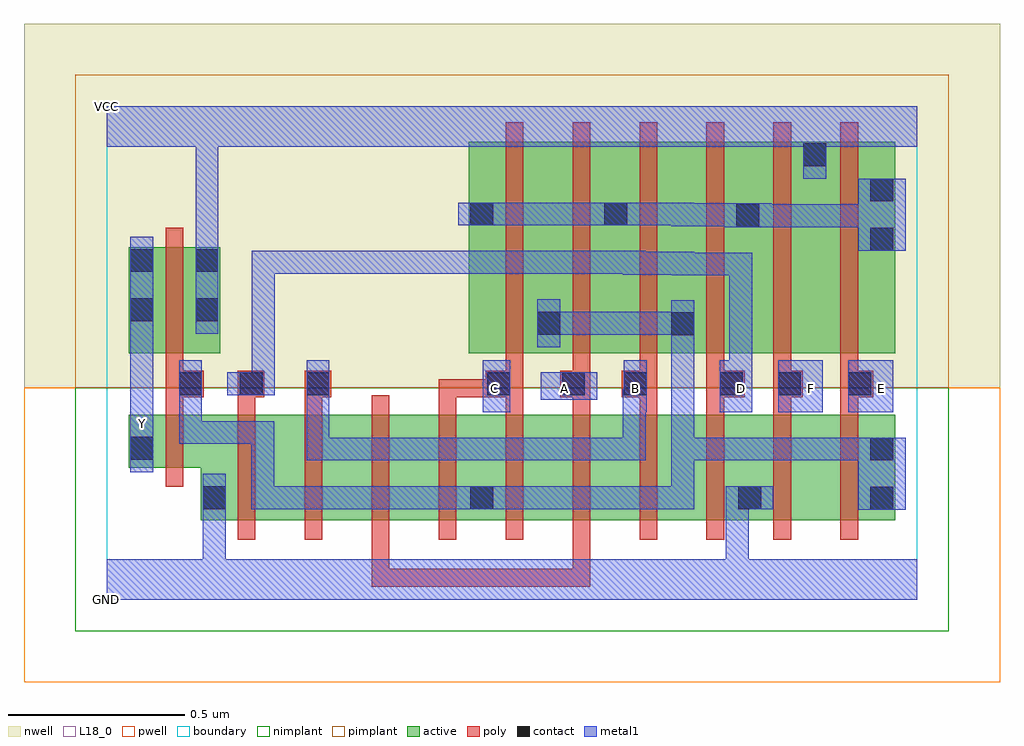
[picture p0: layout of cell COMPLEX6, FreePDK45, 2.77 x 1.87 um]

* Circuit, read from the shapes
.subckt COMPLEX6 A B C D E F GND VCC Y
M1 GND n1 Y VSUBS nfet w=0.15u l=0.05u
M2 n2 D GND VSUBS nfet w=0.3u l=0.05u
M3 n3 B n2 VSUBS nfet w=0.3u l=0.05u
M4 n4 A n3 VSUBS nfet w=0.3u l=0.05u
M5 n1 C n4 VSUBS nfet w=0.3u l=0.05u
M6 n5 C n1 VSUBS nfet w=0.3u l=0.05u
M7 n6 A n5 VSUBS nfet w=0.3u l=0.05u
M8 n7 B n6 VSUBS nfet w=0.3u l=0.05u
M9 GND D n7 VSUBS nfet w=0.3u l=0.05u
M10 n8 F GND VSUBS nfet w=0.3u l=0.05u
M11 n1 E n8 VSUBS nfet w=0.3u l=0.05u
M12 VCC n1 Y n9 pfet w=0.3u l=0.05u
M13 n1 C n10 n9 pfet w=0.6u l=0.05u
M14 n10 A n1 n9 pfet w=0.6u l=0.05u
M15 n1 B n10 n9 pfet w=0.6u l=0.05u
M16 n10 D n1 n9 pfet w=0.6u l=0.05u
M17 VCC F n10 n9 pfet w=0.6u l=0.05u
M18 n10 E VCC n9 pfet w=0.6u l=0.05u
.ends

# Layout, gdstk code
import gdstk
lib = gdstk.Library(unit=1e-6, precision=1e-09)
def R(c, l, rs):  # rectangles x0, y0, x1, y1
    for r in rs: c.add(gdstk.rectangle(r[:2], r[2:], *l))
def A(c, l, x, y, w, h, nx, ny, dx, dy):  # array of equal rectangles
    R(c, l, [(x+i*dx, y+j*dy, x+i*dx+w, y+j*dy+h) for i in range(nx) for j in range(ny)])
active = (1, 0)
pwell = (2, 0)
nwell = (3, 0)
nimplant = (4, 0)
pimplant = (5, 0)
poly = (9, 0)
contact = (10, 0)
metal1 = (11, 0)
L18_0 = (18, 0)
boundary = (235, 0)

complex6 = lib.new_cell('COMPLEX6')
A(complex6, active, 0.267, 0.225, 0.225, 0.3, 3, 1, 0.76, 0)
A(complex6, active, 1.027, 0.7, 0.265, 0.6, 3, 1, 0.19, 0)
R(complex6, active, [(0.267,0.225,0.342,0.375), (0.492,0.225,0.682,0.525), (0.682,0.225,0.872,0.525), (0.872,0.225,1.102,0.525), (1.027,0.225,1.102,0.517), (1.252,0.225,1.442,0.525), (1.442,0.225,1.632,0.525), (1.632,0.225,1.862,0.525), (1.787,0.225,1.862,0.392), (2.012,0.225,2.237,0.525), (2.162,0.225,2.237,0.525), (0.062,0.375,0.137,0.525), (0.062,0.375,0.342,0.525), (0.062,0.7,0.137,1), (0.062,0.7,0.322,1), (0.247,0.7,0.322,1), (1.217,0.7,1.292,0.94), (1.597,0.7,1.857,1.3), (1.597,0.7,1.672,0.94), (1.782,0.7,2.047,1.3), (1.972,0.7,2.237,1.3), (2.162,0.7,2.237,1.2), (1.027,0.707,1.102,1.2), (1.407,0.707,1.482,1.2), (1.782,0.707,1.857,1.2), (1.972,0.707,2.047,1.3)])
R(complex6, pwell, [(-0.235,-0.235,2.535,0.602)])
R(complex6, nwell, [(-0.235,0.602,2.535,1.635)])
R(complex6, nimplant, [(-0.09,-0.09,2.39,0.602)])
R(complex6, pimplant, [(-0.09,0.602,2.39,1.49)])
A(complex6, poly, 0.372, 0.17, 0.05, 0.41, 10, 1, 0.19, 0)
A(complex6, poly, 0.942, 0.53, 0.05, 0.095, 7, 1, 0.19, 0)
A(complex6, poly, 1.132, 0.6, 0.05, 0.095, 6, 1, 0.19, 0)
A(complex6, poly, 1.132, 0.645, 0.05, 0.71, 6, 1, 0.19, 0)
R(complex6, poly, [(0.752,0.037,0.802,0.22), (0.752,0.037,0.802,0.087), (0.752,0.037,0.802,0.087), (0.752,0.037,0.802,0.087), (0.752,0.037,0.935,0.087), (0.885,0.037,0.935,0.087), (0.885,0.037,1.125,0.087), (1.075,0.037,1.125,0.087), (1.075,0.037,1.125,0.087), (1.075,0.037,1.125,0.087), (1.075,0.037,1.372,0.087), (1.322,0.037,1.372,0.22), (1.322,0.037,1.372,0.087), (1.322,0.037,1.372,0.087), (1.322,0.037,1.372,0.087), (0.167,0.32,0.217,0.58), (0.167,0.53,0.217,0.625), (0.372,0.53,0.422,0.625), (0.562,0.53,0.612,0.625), (0.167,0.575,0.275,0.65), (0.372,0.575,0.447,0.65), (0.562,0.575,0.637,0.65), (0.942,0.575,0.992,0.625), (0.942,0.575,0.992,0.625), (0.942,0.575,0.992,0.625), (0.942,0.575,1.125,0.625), (1.075,0.575,1.182,0.65), (1.287,0.575,1.372,0.65), (1.462,0.575,1.562,0.65), (1.702,0.575,1.81,0.65), (1.892,0.575,1.975,0.65), (2.082,0.575,2.175,0.65), (0.167,0.6,0.217,0.695), (0.167,0.645,0.217,1.055)])
A(complex6, contact, 0.272, 0.257, 0.065, 0.065, 3, 1, 0.76, 0)
R(complex6, contact, [(2.167,0.255,2.232,0.32), (2.167,0.395,2.232,0.46), (0.067,0.397,0.132,0.462), (0.205,0.58,0.27,0.645), (0.377,0.58,0.442,0.645), (0.567,0.58,0.632,0.645), (1.08,0.58,1.145,0.645), (1.292,0.58,1.357,0.645), (1.467,0.58,1.532,0.645), (1.74,0.58,1.805,0.645), (1.905,0.58,1.97,0.645), (2.105,0.58,2.17,0.645), (1.602,0.75,1.667,0.815), (1.222,0.752,1.287,0.817), (0.067,0.79,0.132,0.855), (0.252,0.79,0.317,0.855), (0.067,0.93,0.132,0.995), (0.252,0.93,0.317,0.995), (2.167,0.99,2.232,1.055), (1.787,1.057,1.852,1.122), (1.032,1.062,1.097,1.127), (1.412,1.062,1.477,1.127), (2.167,1.13,2.232,1.195), (1.977,1.23,2.042,1.295)])
R(complex6, metal1, [(0,0,2.3,0.115), (0.272,0.05,0.337,0.115), (0.272,0.05,0.337,0.115), (0.272,0.05,0.337,0.287), (1.757,0.05,1.822,0.322), (0.272,0.222,0.337,0.357), (2.132,0.255,2.267,0.46), (0.41,0.257,0.475,0.322), (0.41,0.257,0.615,0.322), (0.41,0.257,0.475,0.507), (0.55,0.257,0.615,0.322), (0.55,0.257,0.615,0.322), (0.55,0.257,0.615,0.322), (0.55,0.257,0.77,0.322), (0.705,0.257,0.77,0.322), (0.705,0.257,0.77,0.322), (0.705,0.257,0.77,0.322), (0.705,0.257,0.995,0.322), (0.93,0.257,0.995,0.322), (0.93,0.257,1.062,0.322), (0.997,0.257,1.132,0.322), (1.067,0.257,1.132,0.322), (1.067,0.257,1.132,0.322), (1.067,0.257,1.305,0.322), (1.24,0.257,1.305,0.322), (1.24,0.257,1.305,0.322), (1.24,0.257,1.305,0.322), (1.24,0.257,1.53,0.322), (1.465,0.257,1.53,0.322), (1.465,0.257,1.667,0.322), (1.602,0.257,1.667,0.322), (1.602,0.257,1.667,0.322), (1.602,0.257,1.667,0.322), (1.602,0.257,1.667,0.46), (1.757,0.257,1.822,0.322), (1.757,0.257,1.822,0.322), (1.757,0.257,1.892,0.322), (0.067,0.362,0.132,0.497), (0.567,0.395,0.632,0.46), (0.567,0.395,0.787,0.46), (0.567,0.395,0.632,0.61), (0.722,0.395,0.787,0.46), (0.722,0.395,0.787,0.46), (0.722,0.395,0.787,0.46), (0.722,0.395,0.995,0.46), (0.93,0.395,0.995,0.46), (0.93,0.395,1.132,0.46), (1.067,0.395,1.132,0.46), (1.067,0.395,1.132,0.46), (1.067,0.395,1.132,0.46), (1.067,0.395,1.305,0.46), (1.24,0.395,1.305,0.46), (1.24,0.395,1.305,0.46), (1.24,0.395,1.305,0.46), (1.24,0.395,1.53,0.46), (1.465,0.395,1.53,0.46), (1.465,0.395,1.53,0.597), (1.602,0.395,1.667,0.46), (1.602,0.395,1.832,0.46), (1.602,0.395,1.667,0.78), (1.767,0.395,1.832,0.46), (1.767,0.395,1.832,0.46), (1.767,0.395,1.832,0.46), (1.767,0.395,2.03,0.46), (1.965,0.395,2.03,0.46), (1.965,0.395,2.03,0.46), (1.965,0.395,2.03,0.46), (1.965,0.395,2.197,0.46), (2.132,0.395,2.197,0.46), (2.132,0.395,2.197,0.46), (0.067,0.432,0.132,0.497), (0.067,0.432,0.132,0.567), (0.205,0.442,0.27,0.507), (0.205,0.442,0.475,0.507), (0.205,0.442,0.27,0.61), (0.41,0.442,0.475,0.507), (0.41,0.442,0.475,0.507), (0.41,0.442,0.475,0.507), (0.067,0.502,0.132,0.82), (1.067,0.532,1.145,0.68), (1.465,0.532,1.53,0.597), (1.465,0.532,1.532,0.597), (1.467,0.532,1.532,0.68), (1.74,0.532,1.832,0.68), (1.905,0.532,2.032,0.68), (2.105,0.532,2.232,0.68), (0.205,0.545,0.27,0.61), (0.205,0.545,0.27,0.61), (0.205,0.545,0.27,0.68), (0.567,0.545,0.632,0.61), (0.567,0.545,0.632,0.61), (0.567,0.545,0.632,0.68), (1.232,0.567,1.392,0.645), (0.342,0.58,0.477,0.645), (0.412,0.58,0.477,0.645), (0.412,0.58,0.477,0.645), (0.412,0.58,0.477,0.645), (0.412,0.58,0.477,0.645), (0.412,0.58,0.477,0.99), (1.767,0.615,1.832,0.68), (1.767,0.615,1.832,0.68), (1.767,0.615,1.832,0.985), (1.602,0.715,1.667,0.78), (1.602,0.715,1.667,0.78), (1.602,0.715,1.667,0.85), (1.222,0.717,1.287,0.852), (1.222,0.752,1.287,0.817), (1.222,0.752,1.287,0.817), (1.222,0.752,1.53,0.817), (1.465,0.752,1.53,0.817), (1.465,0.752,1.667,0.817), (1.602,0.752,1.667,0.817), (1.602,0.752,1.667,0.817), (0.067,0.755,0.132,1.03), (0.252,0.755,0.317,1.03), (1.602,0.92,1.832,0.985), (1.602,0.92,1.667,0.987), (1.767,0.92,1.832,0.985), (1.767,0.92,1.832,0.985), (1.767,0.92,1.832,0.985), (1.767,0.92,1.832,0.985), (1.767,0.92,1.832,0.985), (1.465,0.922,1.53,0.987), (1.465,0.922,1.53,0.987), (1.465,0.922,1.667,0.987), (1.465,0.922,1.53,0.99), (0.412,0.925,0.477,0.99), (0.412,0.925,0.632,0.99), (0.567,0.925,0.632,0.99), (0.567,0.925,0.632,0.99), (0.567,0.925,0.632,0.99), (0.567,0.925,0.77,0.99), (0.705,0.925,0.77,0.99), (0.705,0.925,0.925,0.99), (0.86,0.925,0.925,0.99), (0.86,0.925,0.925,0.99), (0.86,0.925,0.925,0.99), (0.86,0.925,1.132,0.99), (1.067,0.925,1.132,0.99), (1.067,0.925,1.132,0.99), (1.067,0.925,1.132,0.99), (1.067,0.925,1.305,0.99), (1.24,0.925,1.305,0.99), (1.24,0.925,1.305,0.99), (1.24,0.925,1.305,0.99), (1.24,0.925,1.53,0.99), (0.252,0.965,0.317,1.35), (2.132,0.99,2.267,1.195), (1.752,1.057,1.887,1.125), (1.822,1.057,2.025,1.122), (1.96,1.057,2.025,1.122), (1.96,1.057,2.025,1.122), (1.96,1.057,2.025,1.122), (1.96,1.057,2.197,1.122), (2.132,1.057,2.197,1.122), (2.132,1.057,2.197,1.122), (1.602,1.06,1.817,1.125), (1.602,1.06,1.667,1.127), (1.752,1.06,1.817,1.125), (1.752,1.06,1.817,1.125), (0.997,1.062,1.132,1.127), (1.067,1.062,1.132,1.127), (1.067,1.062,1.132,1.127), (1.067,1.062,1.305,1.127), (1.24,1.062,1.305,1.127), (1.24,1.062,1.305,1.127), (1.24,1.062,1.305,1.127), (1.24,1.062,1.442,1.127), (1.377,1.062,1.512,1.127), (1.447,1.062,1.53,1.127), (1.465,1.062,1.53,1.127), (1.465,1.062,1.667,1.127), (1.977,1.195,2.042,1.33), (1.977,1.265,2.042,1.35), (0,1.285,2.3,1.4), (0.252,1.285,0.317,1.35), (0.252,1.285,0.317,1.35), (0.252,1.285,0.317,1.35), (0.252,1.285,0.317,1.35)])
A(complex6, L18_0, 1.067, 0.567, 0.065, 0.065, 3, 1, 0.2, 0)
A(complex6, L18_0, 1.767, 0.567, 0.065, 0.065, 3, 1, 0.2, 0)
R(complex6, L18_0, [(0,0,2.3,0.115), (0.272,0.05,0.337,0.115), (0.272,0.05,0.337,0.115), (0.272,0.05,0.337,0.287), (1.757,0.05,1.822,0.322), (0.272,0.222,0.337,0.357), (1.757,0.257,1.822,0.322), (1.757,0.257,1.822,0.322), (1.757,0.257,1.892,0.322), (0.067,0.362,0.132,0.497), (0.567,0.395,0.632,0.46), (0.567,0.395,0.787,0.46), (0.567,0.395,0.632,0.61), (0.722,0.395,0.787,0.46), (0.722,0.395,0.787,0.46), (0.722,0.395,0.787,0.46), (0.722,0.395,0.995,0.46), (0.93,0.395,0.995,0.46), (0.93,0.395,1.132,0.46), (1.067,0.395,1.132,0.46), (1.067,0.395,1.132,0.46), (1.067,0.395,1.132,0.46), (1.067,0.395,1.305,0.46), (1.24,0.395,1.305,0.46), (1.24,0.395,1.305,0.46), (1.24,0.395,1.305,0.46), (1.24,0.395,1.53,0.46), (1.465,0.395,1.53,0.46), (1.465,0.395,1.53,0.597), (0.067,0.432,0.132,0.567), (0.067,0.432,0.132,0.497), (0.067,0.467,0.132,0.532), (0.067,0.502,0.132,0.82), (1.067,0.532,1.145,0.68), (1.465,0.532,1.53,0.597), (1.465,0.532,1.532,0.597), (1.467,0.532,1.532,0.68), (1.74,0.532,1.832,0.68), (1.905,0.532,2.032,0.68), (2.105,0.532,2.232,0.68), (0.567,0.545,0.632,0.68), (0.567,0.545,0.632,0.61), (0.567,0.545,0.632,0.61), (1.232,0.567,1.392,0.645), (0.342,0.58,0.477,0.645), (0.412,0.58,0.477,0.645), (0.412,0.58,0.477,0.645), (0.412,0.58,0.477,0.645), (0.412,0.58,0.477,0.645), (0.412,0.58,0.477,0.99), (1.767,0.615,1.832,0.68), (1.767,0.615,1.832,0.68), (1.767,0.615,1.832,0.985), (0.067,0.755,0.132,1.03), (0.252,0.755,0.317,1.03), (1.602,0.92,1.667,0.987), (1.602,0.92,1.832,0.985), (1.767,0.92,1.832,0.985), (1.767,0.92,1.832,0.985), (1.767,0.92,1.832,0.985), (1.767,0.92,1.832,0.985), (1.767,0.92,1.832,0.985), (1.465,0.922,1.53,0.987), (1.465,0.922,1.53,0.987), (1.465,0.922,1.667,0.987), (1.465,0.922,1.53,0.99), (0.412,0.925,0.477,0.99), (0.412,0.925,0.632,0.99), (0.567,0.925,0.632,0.99), (0.567,0.925,0.632,0.99), (0.567,0.925,0.632,0.99), (0.567,0.925,0.77,0.99), (0.705,0.925,0.77,0.99), (0.705,0.925,0.925,0.99), (0.86,0.925,0.925,0.99), (0.86,0.925,0.925,0.99), (0.86,0.925,0.925,0.99), (0.86,0.925,1.132,0.99), (1.067,0.925,1.132,0.99), (1.067,0.925,1.132,0.99), (1.067,0.925,1.132,0.99), (1.067,0.925,1.305,0.99), (1.24,0.925,1.305,0.99), (1.24,0.925,1.305,0.99), (1.24,0.925,1.305,0.99), (1.24,0.925,1.53,0.99), (0.252,0.965,0.317,1.35), (1.977,1.195,2.042,1.33), (1.977,1.265,2.042,1.35), (0,1.285,2.3,1.4), (0.252,1.285,0.317,1.35), (0.252,1.285,0.317,1.35), (0.252,1.285,0.317,1.35), (0.252,1.285,0.317,1.35)])
R(complex6, boundary, [(0,0,2.3,1.4)])
complex6.add(gdstk.Label('A', (1.3,0.6), layer=11, texttype=0))
complex6.add(gdstk.Label('B', (1.5,0.6), layer=11, texttype=0))
complex6.add(gdstk.Label('C', (1.1,0.6), layer=11, texttype=0))
complex6.add(gdstk.Label('D', (1.8,0.6), layer=11, texttype=0))
complex6.add(gdstk.Label('E', (2.2,0.6), layer=11, texttype=0))
complex6.add(gdstk.Label('F', (2,0.6), layer=11, texttype=0))
complex6.add(gdstk.Label('Y', (0.1,0.5), layer=11, texttype=0))
complex6.add(gdstk.Label('VCC', (0,1.4), layer=11, texttype=0))
complex6.add(gdstk.Label('GND', (0,0), layer=11, texttype=0))

lib.write_gds('COMPLEX6.gds')
